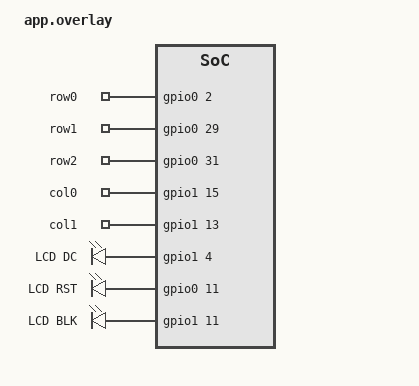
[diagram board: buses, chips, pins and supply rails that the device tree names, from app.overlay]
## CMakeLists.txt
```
# SPDX-License-Identifier: Apache-2.0

cmake_minimum_required(VERSION 3.20.0)
find_package(Zephyr REQUIRED HINTS $ENV{ZEPHYR_BASE})
project(AppDongle)

# QMK 모듈 CMake 파일을 포함합니다.
include(src/ap/modules/qmk/CMakeLists.txt)


# 소스 파일들을 수집합니다. (비재귀적 방식)
# ap 및 bsp, hw 폴더의 모든 C/C++ 파일을 포함합니다.
file(GLOB SRC_FILES 
  src/ap/*.c
  src/bsp/*.c
  src/hw/driver/*.c
  src/hw/*.c
  src/hw/driver/usb/*.c
  src/hw/driver/usb/usb_hid/*.c
  src/hw/driver/wear_leveling/*.c
  src/hw/driver/lcd/st7789.c
  src/hw/driver/lvgl/lv_port_disp.c
  src/lib/fnv/qmk_fnv_type_validation.c
  src/lib/fnv/hash_32a.c
  src/lib/fnv/hash_64a.c
)

# 소스 파일들을 재귀적으로 수집합니다.
# common 및 hw 폴더 내의 모든 하위 디렉토리를 포함하여 C 파일을 찾습니다.
file(GLOB_RECURSE SRC_FILES_RECURSE
  src/common/*.c
  src/lib/lvgl/*.c
  # hw/*.c
)
# 소스 파일들을 app 타겟에 추가합니다
target_sources(app PRIVATE
  src/main.c
  ${SRC_FILES}
  ${SRC_FILES_RECURSE}
  ${QMK_SRC_FILES}
)

# 재귀적으로 모든 하위 디렉토리를 찾기
file(GLOB_RECURSE ALL_DIRS LIST_DIRECTORIES true RELATIVE ${CMAKE_CURRENT_SOURCE_DIR} "src/lib/lvgl/*")

# 디렉토리만 필터링
set(INCLUDE_DIRS_RECURSIVE)
foreach(DIR ${ALL_DIRS})
  if(IS_DIRECTORY ${CMAKE_CURRENT_SOURCE_DIR}/${DIR})
    list(APPEND INCLUDE_DIRS_RECURSIVE ${DIR})
  endif()
endforeach()

# INCLUDE_DIRS_RECURSIVE 변수 출력 (디버깅용)
# message(STATUS "INCLUDE_DIRS_RECURSIVE: ${INCLUDE_DIRS_RECURSIVE}\r\n")

# 프로젝트의 헤더 파일 검색 경로를 지정합니다.
# 컴파일 시 필요한 모든 헤더 파일이 있는 디렉토리를 PUBLIC으로 추가합니다.
target_include_directories(app PUBLIC
  src                   
  src/ap                     # 애플리케이션 관련 코드
  src/ap/modules             # 애플리케이션 모듈 디렉토리
  src/bsp                    # 보드 서포트 패키지(Board Support Package) 디렉토리
  src/common                 # 공통 코드 디렉토리
  src/common/core            # 코어 공통 기능
  src/common/hw/include      # 하드웨어 관련 헤더 파일
  src/common/hw/include/sensor # 센서 관련 헤더 파일
  src/common/hw/include/lcd    # LCD 관련 헤더 파일
  src/hw                     # 하드웨어 드라이버 디렉토리
  src/hw/driver/usb          # USB 드라이버 디렉토리
  src/hw/driver/usb/usbd_hid # USB 드라이버 디렉토리
  src/hw/driver/wear_leveling # 웨어 레벨링 드라이버 디렉토리
  src/lib                    # 라이브러리 디렉토리
  src/lib/fnv                # FNV 해시 라이브러리 디렉토리
  src/ap/modules/qmk
  src/hw/driver/lvgl
  ${INCLUDE_DIRS_RECURSIVE}  # 재귀적으로 찾은 lvgl 포함 디렉토리들
  ${QMK_INC_DIR}         # QMK 헤더 파일 디렉토리
)


#[[
##########################################################################################################
# 파일 전역에서 .c 및 .cpp 파일들을 수집합니다
file(GLOB SRC_FILES 
  ap/*.c             # ap 디렉토리의 C 소스 파일들
  ap/*.cpp           # ap 디렉토리의 C++ 소스 파일들
)

# 지정된 디렉토리와 그 하위 디렉토리에서 재귀적으로 파일들을 수집합니다
file(GLOB_RECURSE SRC_FILES_RECURSE
  bsp/*.c            # bsp(Board Support Package) 디렉토리의 모든 C 파일
  common/*.c         # common 디렉토리의 모든 C 파일
  hw/*.c             # hw(Hardware) 디렉토리의 모든 C 파일
  hw/*.cpp;          # hw 디렉토리의 모든 C++ 파일 (세미콜론은 오타)
)

# 필요한 ESP-IDF 컴포넌트 목록을 설정합니다
set(requires 
  "spi_flash"        # SPI 플래시 메모리 관련 기능
  "esp_adc"          # ESP 아날로그-디지털 변환기 기능
  "esp_timer"        # ESP 타이머 기능
  "esp_psram"        # ESP PSRAM 관련 기능
  "vfs"              # 가상 파일 시스템
  "nvs_flash"        # Non-Volatile Storage 기능
  "esp_hid"          # ESP Human Interface Device 기능
  "esp_mm"           # ESP 메모리 관리 기능
  "tinyusb"          # TinyUSB 라이브러리
)

# ESP-IDF 컴포넌트 등록을 수행합니다
idf_component_register(
  SRCS "main.cpp"    # 메인 소스 파일
  
  SRCS ${SRC_FILES}  # 위에서 수집한 소스 파일들 추가
  SRCS ${SRC_FILES_RECURSE} # 재귀적으로 수집한 소스 파일들 추가
  SRCS ${QMK_SRC_FILES}     # QMK(Quantum Mechanical Keyboard) 관련 소스 파일

  # 포함 디렉토리 설정
  INCLUDE_DIRS ""                # 현재 디렉토리
  INCLUDE_DIRS "ap"              # 애플리케이션 코드 디렉토리
  INCLUDE_DIRS "ap/modules"      # 애플리케이션 모듈 디렉토리
  INCLUDE_DIRS "bsp"             # 보드 지원 패키지 디렉토리
  INCLUDE_DIRS "common"          # 공통 코드 디렉토리
  INCLUDE_DIRS "common/core"     # 공통 코어 코드 디렉토리
  INCLUDE_DIRS "common/hw/include" # 공통 하드웨어 헤더 디렉토리
  INCLUDE_DIRS "hw"              # 하드웨어 관련 디렉토리
  INCLUDE_DIRS "hw/driver"       # 하드웨어 드라이버 디렉토리
  INCLUDE_DIRS "hw/driver/usb"   # USB 드라이버 디렉토리
  INCLUDE_DIRS "hw/driver/ble"   # BLE 드라이버 디렉토리
  INCLUDE_DIRS "lib"             # 라이브러리 디렉토리

  INCLUDE_DIRS ${QMK_INC_DIR}    # QMK 헤더 디렉토리

  # 비공개 의존성 설정
  PRIV_REQUIRES soc driver freertos

  # 공개 의존성 설정
  REQUIRES "${requires}"         # 위에서 정의한 의존성 목록
  REQUIRES driver                # 드라이버 컴포넌트 추가
  )

  # 컴파일 옵션 설정 - 경고 메시지 제외
  target_compile_options(${COMPONENT_LIB} PRIVATE 
  "-Wno-format"                  # 포맷 관련 경고 비활성화
  "-Wno-expansion-to-defined"    # 매크로 확장 관련 경고 비활성화
  )

#######################################################################################################################

# QMK 모듈 CMake 파일을 포함합니다.
include(ap/modules/qmk/CMakeLists.txt)


# 소스 파일들을 수집합니다. (비재귀적 방식)
# ap 및 bsp, hw 폴더의 모든 C/C++ 파일을 포함합니다.
file(GLOB SRC_FILES 
  ap/*.cpp
  ap/*.c
  bsp/*.c
  hw/*.c
)

# 소스 파일들을 재귀적으로 수집합니다.
# common 및 hw 폴더 내의 모든 하위 디렉토리를 포함하여 C 파일을 찾습니다.
file(GLOB_RECURSE SRC_FILES_RECURSE
  common/*.c 
  hw/*.c
)

# 실행 파일을 추가합니다.
# 프로젝트 이름(${PRJ_NAME})으로 실행 파일을 생성하며, 필요한 모든 소스 파일을 포함합니다.
add_executable(
  ${PRJ_NAME}
  
  main.c

  ${SRC_FILES}
  ${SRC_FILES_RECURSE}
  ${QMK_SRC_FILES}
)

# 프로젝트의 헤더 파일 검색 경로를 지정합니다.
# 컴파일 시 필요한 모든 헤더 파일이 있는 디렉토리를 PUBLIC으로 추가합니다.
target_include_directories(${PRJ_NAME} PUBLIC 
  .                      # 현재 디렉토리
  ap                     # 애플리케이션 관련 코드
  ap/modules             # 애플리케이션 모듈 디렉토리
  bsp                    # 보드 서포트 패키지(Board Support Package) 디렉토리
  common                 # 공통 코드 디렉토리
  common/core            # 코어 공통 기능
  common/hw/include      # 하드웨어 관련 헤더 파일
  hw                     # 하드웨어 드라이버 디렉토리
  hw/driver/usb          # USB 드라이버 디렉토리
  lib                    # 라이브러리 디렉토리

  ${QMK_INC_DIR}         # QMK 헤더 파일 디렉토리
)

# 프로젝트에 필요한 라이브러리를 링크합니다.
# Raspberry Pi Pico SDK의 컴포넌트들을 포함합니다.
target_link_libraries(${PRJ_NAME} 
  pico_stdlib           # Pico 표준 라이브러리
  hardware_spi          # SPI 통신 지원 하드웨어 라이브러리
  hardware_dma          # DMA(Direct Memory Access) 라이브러리
  hardware_irq          # IRQ(인터럽트 요청) 라이브러리
  hardware_i2c          # I2C 통신 지원 하드웨어 라이브러리
  pico_multicore        # 멀티코어 프로세싱 지원 라이브러리
  hardware_pio          # PIO(Programmable I/O) 하드웨어 라이브러리
  pico_unique_id        # Pico 보드 고유 식별자 라이브러리
  tinyusb_device        # TinyUSB 디바이스 라이브러리
  tinyusb_board         # TinyUSB 보드 지원 라이브러리
  )

# 추가적인 출력 파일을 생성합니다(UF2 파일 등).
pico_add_extra_outputs(${PRJ_NAME})
# USB를 통한 표준 입출력을 비활성화합니다.
pico_enable_stdio_usb(${PRJ_NAME}  0)
# UART를 통한 표준 입출력을 활성화합니다.
pico_enable_stdio_uart(${PRJ_NAME} 1)

# WS2812 LED 제어를 위한 PIO 헤더 파일을 생성합니다.
pico_generate_pio_header(${PRJ_NAME} ${CMAKE_CURRENT_LIST_DIR}/hw/driver/pio/ws2812.pio)

# 출력 파일의 확장자를 .elf로 설정합니다.
set_target_properties(${PRJ_NAME} PROPERTIES SUFFIX ".elf")

]]
```

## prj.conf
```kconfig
CONFIG_GPIO=y

# Main stack size
CONFIG_MAIN_STACK_SIZE=8192
CONFIG_LOG_PROCESS_THREAD_STACK_SIZE=2048

# USB 기능
CONFIG_USB_DEVICE_STACK=y

# USB 복합 장치 설정
CONFIG_USB_COMPOSITE_DEVICE=y
# CDC ACM 설정
CONFIG_UART_LINE_CTRL=y
CONFIG_USB_CDC_ACM=y

# HID 관련 설정
CONFIG_USB_DEVICE_HID=y
CONFIG_USB_DEVICE_PRODUCT="Zephyr HID mouse sample"
CONFIG_USB_DEVICE_PID=0x5220
CONFIG_USB_DEVICE_VID=0x0483
CONFIG_USB_DEVICE_INITIALIZE_AT_BOOT=n
CONFIG_ENABLE_HID_INT_OUT_EP=y
CONFIG_USB_HID_REPORTS=1
CONFIG_HID_INTERRUPT_EP_MPS=64
CONFIG_USB_HID_DEVICE_COUNT=2

# USB 재연결 및 안정성 개선
# CONFIG_USB_DEVICE_REMOTE_WAKEUP=y
# CONFIG_USB_DEVICE_SOF=y
# CONFIG_USB_DEVICE_BOS=y
# USB 디버깅 로그
# CONFIG_USB_DEVICE_LOG_LEVEL_DBG=y
# CONFIG_USB_HID_LOG_LEVEL_DBG=y

# 로그 시스템
CONFIG_LOG=y
# CONFIG_LOG_MODE_DEFERRED=y
# CONFIG_LOG_DEFAULT_LEVEL=4

CONFIG_GPIO_AS_PINRESET=y
# CONFIG_NRFX_SPIM1=y
CONFIG_NRFX_SPIM3=y

# FOR DEBUG
CONFIG_INIT_STACKS=y
```

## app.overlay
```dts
/ {
    key_matrix {
        compatible = "gpio-keys";
        status = "okay";

        row0: row0 {
            gpios = <&gpio0 2 GPIO_ACTIVE_HIGH>;
        };
        row1: row1 {
            gpios = <&gpio0 29 GPIO_ACTIVE_HIGH>;
        };
        row2: row2 {
            gpios = <&gpio0 31 GPIO_ACTIVE_HIGH>;
        };
        col0: col0 {
            gpios = <&gpio1 15 GPIO_ACTIVE_HIGH>;
        };
        col1: col1 {
            gpios = <&gpio1 13 GPIO_ACTIVE_HIGH>;
        };
    };

    lcd_pins {
        compatible = "gpio-leds";
        status = "okay";
        
        lcd_dc: lcd_dc {
            gpios = <&gpio1 4 GPIO_ACTIVE_HIGH>;
            label = "LCD DC";
        };
        lcd_rst: lcd_rst {
            gpios = <&gpio0 11 GPIO_ACTIVE_HIGH>;
            label = "LCD RST";
        };
        lcd_blk: lcd_blk {
            gpios = <&gpio1 11 GPIO_ACTIVE_HIGH>;
            label = "LCD BLK";
        };
    };
};
```

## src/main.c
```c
// main.c
#include <zephyr/kernel.h>
#include <zephyr/device.h>
#include <zephyr/logging/log.h>
#include "hw.h"
#include "ap.h"
#include <zephyr/device.h>

#include <zephyr/devicetree.h>
#include <zephyr/drivers/display.h>
#include <zephyr/drivers/gpio.h>
#include <lvgl.h>
#include <stdio.h>
#include <string.h>
#include <zephyr/kernel.h>

LOG_MODULE_REGISTER(main);

int main(void) {
    LOG_INF("Starting USB HID device...");
    
    // 하드웨어 초기화
    hwInit();
    apInit();

	char count_str[11] = {0};
	const struct device *display_dev;
	lv_obj_t *hello_world_label;
	lv_obj_t *count_label;

	display_dev = DEVICE_DT_GET(DT_CHOSEN(zephyr_display));
	if (!device_is_ready(display_dev)) {
		LOG_ERR("Device not ready, aborting test");
	}

    display_blanking_off(display_dev);

    hello_world_label = lv_label_create(lv_scr_act());

	lv_label_set_text(hello_world_label, "Hello world!");
	lv_obj_align(hello_world_label, LV_ALIGN_CENTER, 0, 0);
    // lv_timer_handler();
    // 메인 루프
    while (1) {

        
        // // USB가 구성되어 있고 일시 중단되지 않은 경우에만 동작
        // if (usb_configured && !usb_suspended) {
        //     // 주기적으로 테스트 리포트 전송 (개발용)
        //     // send_keyboard_report();
        //     send_mouse_report();
        // }
        lv_timer_handler();
        k_msleep(10);
        
        // 어플리케이션 메인 처리
        // apMain();
    }

    return 0;
}
```
